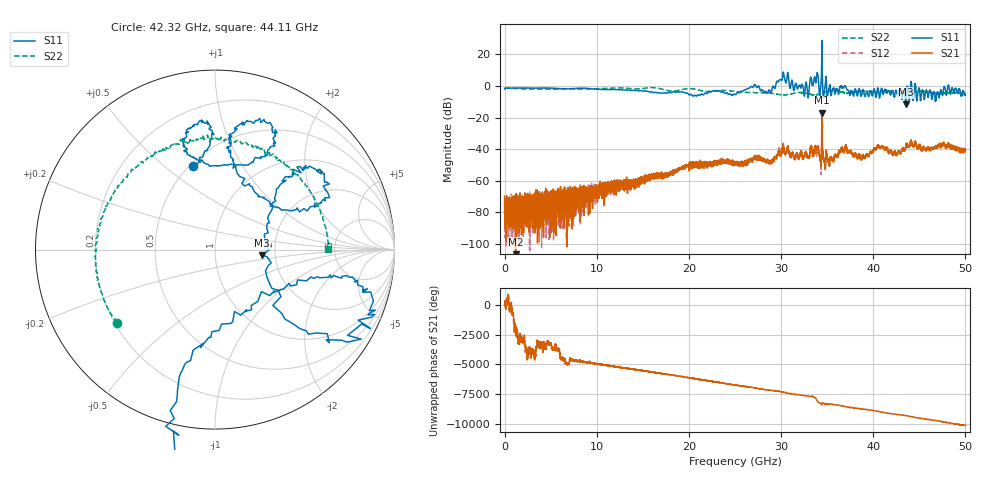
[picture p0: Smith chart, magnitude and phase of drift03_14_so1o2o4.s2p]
!Created with skrf (http://scikit-rf.org).
# Hz S RI R 50.0
!freq ReS11 ImS11 ReS21 ImS21 ReS12 ImS12 ReS22 ImS22
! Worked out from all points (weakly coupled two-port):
!   10000 points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, 5.3 MHz to 50 GHz, reference 50 ohm
!   highest |S21| = -16.99 dB at 34.43 GHz (marker M1); lowest = -119.4 dB at 1.2 GHz (marker M2)
!   lowest |S11| = -11.6 dB at 43.53 GHz (marker M3), VSWR 1.71, Z = 85 - j5.96 ohm
!   |S11| at or under -10 dB: 43.49831 GHz to 43.53914 GHz (40.83 MHz wide, 0.0938 % of centre); 43.54231 GHz to 43.55251 GHz (10.2 MHz wide, 0.0234 % of centre)
!   |S22| runs from -5.8 to -1.1 dB; largest |S21 - S12| = 0.032
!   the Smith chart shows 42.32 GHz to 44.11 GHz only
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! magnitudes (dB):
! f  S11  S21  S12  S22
! 5.3 MHz  -2.1  -69.7  -73.8  -1.3
! 260.3 MHz  -1.4  -75.8  -73.9  -1.4
! 1.2 GHz  -1.4  -119.4  -77.6  -1.7
! 4.045 GHz  -1.4  -73.7  -78.2  -2.0
! 8.34 GHz  -1.5  -69.7  -71.9  -2.1
! 16.67 GHz  -4.4  -56.4  -56.4  -1.5
! 20.33 GHz  -5.9  -49.3  -49.9  -1.8
! 25.01 GHz  -5.5  -49.5  -48.6  -3.5
! 27.02 GHz  -0.4  -46.4  -46.1  -4.2
! 28.72 GHz  -2.5  -49.3  -48.4  -4.5
! 30.14 GHz  4.4  -40.6  -40.5  -5.6
! 32.74 GHz  2.0  -42.5  -42.4  -4.6
! 33.34 GHz  2.5  -39.7  -40.3  -5.5
! 33.82 GHz  3.9  -42.0  -42.3  -5.7
! 34.43 GHz  28.7  -17.0  -18.7  -4.6
! 35.3 GHz  0.6  -47.9  -46.9  -3.4
! 36.84 GHz  -0.6  -41.4  -41.2  -4.3
! 38.84 GHz  -3.4  -44.4  -44.1  -3.2
! 40.62 GHz  -5.2  -38.9  -38.6  -4.0
! 41.67 GHz  -3.2  -42.0  -42.6  -3.4
! 43.53 GHz  -11.6  -38.4  -38.6  -4.1
! 50 GHz  -5.4  -40.5  -39.9  -4.5
